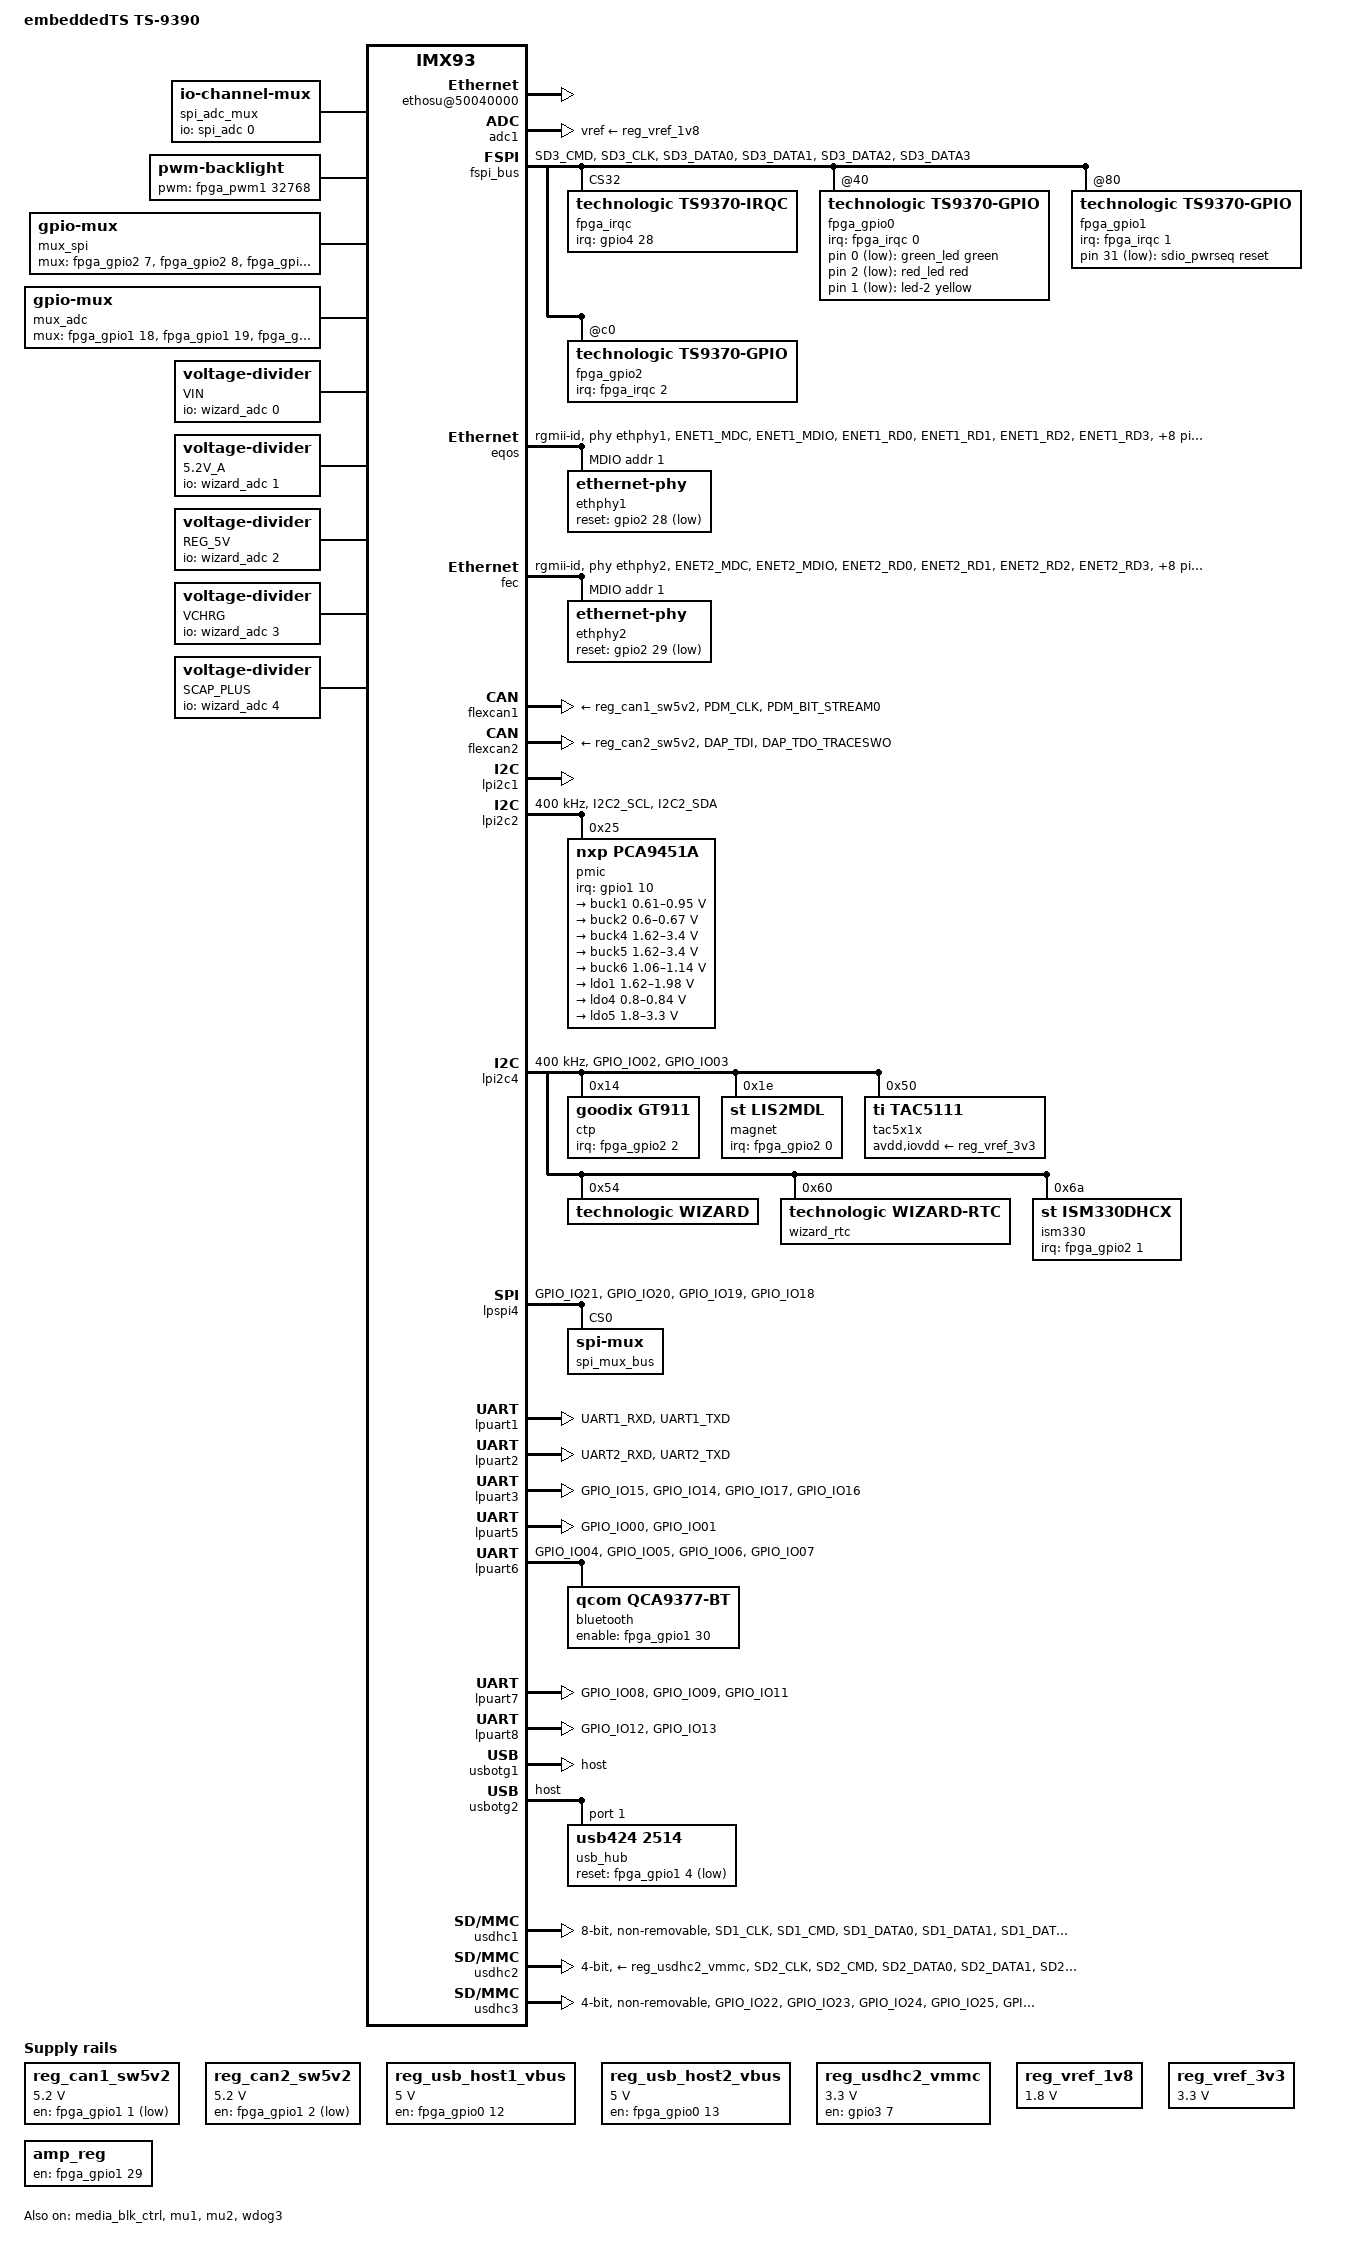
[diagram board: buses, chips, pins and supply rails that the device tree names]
// SPDX-License-Identifier: (GPL-2.0+ OR MIT)
/*
 * Copyright 2024, 2025 Technologic Systems, Inc. (dba embeddedTS)
 */

/dts-v1/;

#include <dt-bindings/leds/common.h>
#include <dt-bindings/pwm/pwm.h>
#include "imx93.dtsi"

#include "imx93-ts9390-pinfunc.h"

/ {
	model = "embeddedTS TS-9390";
	compatible = "technologic,ts9390", "fsl,imx93";

	chosen {
		bootargs = "console=ttyLP0,115200";
		stdout-path = &lpuart1;
	};

	aliases {
		gpio4 = &fpga_gpio0;
		gpio5 = &fpga_gpio1;
		gpio6 = &fpga_gpio2;
	};

	reserved-memory {
		#address-cells = <2>;
		#size-cells = <2>;
		ranges;

		linux,cma {
			compatible = "shared-dma-pool";
			reusable;
			alloc-ranges = <0 0x80000000 0 0x40000000>;
			size = <0 0x10000000>;
			linux,cma-default;
		};

		vdev0vring0: vdev0vring0@a4000000 {
			reg = <0 0xa4000000 0 0x8000>;
			no-map;
		};

		vdev0vring1: vdev0vring1@a4008000 {
			reg = <0 0xa4008000 0 0x8000>;
			no-map;
		};

		vdev1vring0: vdev1vring0@a4010000 {
			reg = <0 0xa4010000 0 0x8000>;
			no-map;
		};

		vdev1vring1: vdev1vring1@a4018000 {
			reg = <0 0xa4018000 0 0x8000>;
			no-map;
		};

		rsc_table: rsc-table@2021e000 {
			reg = <0 0x2021e000 0 0x1000>;
			no-map;
		};

		vdevbuffer: vdevbuffer@a4020000 {
			compatible = "shared-dma-pool";
			reg = <0 0xa4020000 0 0x100000>;
			no-map;
		};

		ele_reserved: ele-reserved@a4120000 {
			compatible = "shared-dma-pool";
			reg = <0 0xa4120000 0 0x100000>;
			no-map;
		};

                ethosu_mem: ethosu-reserved@a5000000 {
                        compatible = "shared-dma-pool";
                        reg = <0x0 0xa5000000 0x0 0x10000000>;  /* 256 MB */
                        reusable;
                };
	};

	ethosu@50040000 {
		compatible = "arm,ethosu";
		//fsl,cm33-proc = <&cm33>;
		memory-region = <&ethosu_mem>;
		power-domains = <&mlmix>;
	};

	spi_adc_mux: adc-mux {
		compatible = "io-channel-mux";
		io-channels = <&spi_adc 0>;
		io-channel-names = "parent";

		mux-controls = <&mux_adc>;
		mux-control-names = "an_sel";

		channels = "AN_1",
			   "AN_2",
			   "AN_3",
			   "AN_4",
			   "MIKRO_AN";
	};

	backlight: backlight {
		compatible = "pwm-backlight";
		pwms = <&fpga_pwm1 32768 PWM_POLARITY_INVERTED>;
		brightness-levels = <0 100>;
		num-interpolated-steps = <100>;
		default-brightness-level = <100>;
	};

	clk_dp: clk-dp {
		compatible = "fixed-clock";
		#clock-cells = <0>;
		clock-frequency = <19200000>;
	};

	leds {
		compatible = "gpio-leds";

		green_led: led-0 {
			color = <LED_COLOR_ID_GREEN>;
			function = LED_FUNCTION_POWER;
			gpios = <&fpga_gpio0 0 GPIO_ACTIVE_LOW>;
			default-state = "on";
		};

		red_led: led-1 {
			color = <LED_COLOR_ID_RED>;
			function = LED_FUNCTION_STATUS;
			gpios = <&fpga_gpio0 2 GPIO_ACTIVE_LOW>;
			default-state = "off";
		};

		led-2 {
			color = <LED_COLOR_ID_YELLOW>;
			function = LED_FUNCTION_INDICATOR;
			gpios = <&fpga_gpio0 1 GPIO_ACTIVE_LOW>;
			default-state = "off";
		};
	};

	mux_spi: mux-controller {
		compatible = "gpio-mux";
		#mux-control-cells = <0>;
		mux-gpios = <&fpga_gpio2 7 GPIO_ACTIVE_HIGH>,
			    <&fpga_gpio2 8 GPIO_ACTIVE_HIGH>,
			    <&fpga_gpio2 9 GPIO_ACTIVE_HIGH>;
	};

	mux_adc: mux-controller {
		compatible = "gpio-mux";
		#mux-control-cells = <0>;
		mux-gpios = <&fpga_gpio1 18 GPIO_ACTIVE_HIGH>,
			    <&fpga_gpio1 19 GPIO_ACTIVE_HIGH>,
			    <&fpga_gpio1 20 GPIO_ACTIVE_HIGH>;
	};

	reg_can1_sw5v2: regulator-can1-en {
		compatible = "regulator-fixed";
		regulator-name = "EN_CAN1_N";
		regulator-min-microvolt = <5200000>;
		regulator-max-microvolt = <5200000>;
		gpio = <&fpga_gpio1 1 GPIO_ACTIVE_LOW>;
	};

	reg_can2_sw5v2: regulator-can2-en {
		compatible = "regulator-fixed";
		regulator-name = "EN_CAN2_N";
		regulator-min-microvolt = <5200000>;
		regulator-max-microvolt = <5200000>;
		gpio = <&fpga_gpio1 2 GPIO_ACTIVE_LOW>;
	};

	reg_usb_host1_vbus: regulator-host1-vbus {
		compatible = "regulator-fixed";
		regulator-name = "EN_USB_HOST1_VBUS";
		regulator-min-microvolt = <5000000>;
		regulator-max-microvolt = <5000000>;
		gpio = <&fpga_gpio0 12 GPIO_ACTIVE_HIGH>;
		enable-active-high;
	};

	reg_usb_host2_vbus: regulator-host2-vbus {
		compatible = "regulator-fixed";
		regulator-name = "EN_USB_HOST2_VBUS";
		regulator-min-microvolt = <5000000>;
		regulator-max-microvolt = <5000000>;
		gpio = <&fpga_gpio0 13 GPIO_ACTIVE_HIGH>;
		enable-active-high;
	};

	reg_usdhc2_vmmc: regulator-usdhc2 {
		compatible = "regulator-fixed";
		pinctrl-names = "default";
		pinctrl-0 = <&pinctrl_reg_usdhc2_vmmc>;
		regulator-name = "VSD_3V3";
		regulator-min-microvolt = <3300000>;
		regulator-max-microvolt = <3300000>;
		gpio = <&gpio3 7 GPIO_ACTIVE_HIGH>;
		off-on-delay-us = <12000>;
		enable-active-high;
	};

	reg_vref_1v8: regulator-adc-vref {
		compatible = "regulator-fixed";
		regulator-name = "vref_1v8";
		regulator-min-microvolt = <1800000>;
		regulator-max-microvolt = <1800000>;
	};

	reg_vref_3v3: regulator-adc-vref {
		compatible = "regulator-fixed";
		regulator-name = "vref_3v3";
		regulator-min-microvolt = <3300000>;
		regulator-max-microvolt = <3300000>;
		regulator-always-on;
	};

	/*
	 * The numbering of the following voltage-divider io-channels must match
	 * the ordering of the Wizard microcontroller's scan table that it selected
	 * for the hardware configuration it determined itself to be running on.
	 */
	an_vin: an-vin {
		compatible = "voltage-divider";
		io-channels = <&wizard_adc 0>;
		label = "VIN";
		output-ohms = <4990>; /* R2: 4.9k */
		full-ohms = <79990>;  /* R1 (75k) + R2 (4.99k) */
		#io-channel-cells = <0>;
	};

	an_5p2va: an-5p2va {
		compatible = "voltage-divider";
		io-channels = <&wizard_adc 1>;
		label = "5.2V_A";
		output-ohms = <75000>; /* R2: 75k */
		full-ohms = <150000>;  /* R1 (75k) + R2 (75k) */
		#io-channel-cells = <0>;
	};

	an_reg_5v: an-reg-5v {
		compatible = "voltage-divider";
		io-channels = <&wizard_adc 2>;
		label = "REG_5V";
		output-ohms = <75000>; /* R2: 75k */
		full-ohms = <150000>;  /* R1 (75k) + R2 (75k) */
		#io-channel-cells = <0>;
	};

	an_vchrg: an-vchrg {
		compatible = "voltage-divider";
		io-channels = <&wizard_adc 3>;
		label = "VCHRG";
		output-ohms = <75000>; /* R2: 75k */
		full-ohms = <150000>;  /* R1 (75k) + R2 (75k) */
		#io-channel-cells = <0>;
	};

	an_scap_plus: an-scap-plus {
		compatible = "voltage-divider";
		io-channels = <&wizard_adc 4>;
		label = "SCAP_PLUS";
		output-ohms = <75000>; /* R2: 75k */
		full-ohms = <150000>;  /* R1 (75k) + R2 (75k) */
		#io-channel-cells = <0>;
	};

	sdio_pwrseq: sdio-pwrseq {
		compatible = "mmc-pwrseq-simple";
		pinctrl-names = "default";
		reset-gpios = <&fpga_gpio1 31 GPIO_ACTIVE_LOW>;
	};

        amp_reg: amp-supply {
                compatible = "regulator-fixed";
                regulator-name = "amp-enable";
                gpio = <&fpga_gpio1 29 GPIO_ACTIVE_HIGH>;
                enable-active-high;
        };

	imx_tac5111: sound-tac5111 {
		compatible = "fsl,imx-audio-card";
		model = "imx-tac5111";
                amp-enable-supply = <&amp_reg>;
		simple-audio-card,widgets =
			"Microphone", "Line In",
			"Headphone", "Line Out",
			"Speaker", "Speaker Ext";
                simple-audio-card,routing =
                	"AIN1", "Line In",
			"Line Out", "OUT1",
			"Speaker Ext", "AMPVDD",
                	"AMPVDD", "amp-enable";

		//pri-dai-link {
		//	link-name = "tac5111";
		//	format = "i2s";
		//	cpu {
		//		sound-dai = <&sai1>;
        //                        bitclock-master;
        //                        frame-master;
		//	};
		//	codec {
		//		sound-dai = <&tac5x1x>;
		//	};
		//};
	};

//	lcd_lvds0: panel0 {
//		compatible = "panel-lvds";
//		backlight = <&backlight>;
//		data-mapping = "vesa-24";
//		width-mm = <154>;  // 7"
//		height-mm = <86>;
//		enable-gpios = <&fpga_gpio2 3 GPIO_ACTIVE_LOW>;
//		reset-gpios = <&fpga_gpio2 4 GPIO_ACTIVE_HIGH>;
//		status = "okay";
//
//		panel-timing {
//			clock-frequency = <62400000>;
//			hactive = <1024>;
//			vactive = <600>;
//			hback-porch = <160>;
//			hfront-porch = <160>;
//			hsync-len = <10>;
//			vback-porch = <23>;
//			vfront-porch = <15>;
//			vsync-len = <5>;
//			de-active = <1>;
//			pixelclk-active = <1>;
//		};
//
//		port {
//			panel_lvds_in: endpoint {
//				remote-endpoint = <&lvds_out>;
//			};
//		};
//	};
};

//&ldb {
//	status = "okay";
//
//	lvds-channel@0 {
//		status = "okay";
//
//		port@1 {
//			lvds_out: endpoint {
//				remote-endpoint = <&panel_lvds_in>;
//			};
//		};
//	};
//};
//
//&ldb_phy {
//	status = "okay";
//};

&adc1 {
	vref-supply = <&reg_vref_1v8>;
	status = "okay";
};

&aips2 {
	fspi_bus: fspi-bus@425e0000 {
		compatible = "nxp,imx93-fspi-bus";
		reg = <0x425e0000 0x10000>, <0x28000000 0x10000000>;
		reg-names = "fspi_base", "fspi_mmap";
		#address-cells = <1>;
		#size-cells = <1>;
		clocks = <&clk IMX93_CLK_FLEXSPI1_GATE>,
			 <&clk IMX93_CLK_FLEXSPI1_GATE>;
		clock-names = "fspi", "fspi_en";
		assigned-clocks = <&clk IMX93_CLK_FLEXSPI1>;
		assigned-clock-parents = <&clk IMX93_CLK_SYS_PLL_PFD1>;

		pinctrl-names = "default";
		pinctrl-0 = <&pinctrl_flexspi>;
		
		assigned-clock-rates = <66666666>;
		ranges = <0 0x28000000 0x10000000>;

		fpga_irqc: irq@28000020 {
			compatible = "technologic,ts9370-irqc";
			reg = <0x20 0x20>;
			pinctrl-names = "default";
			pinctrl-0 = <&pinctrl_fpga_irq>;

			interrupt-parent = <&gpio4>;
			interrupts = <28 IRQ_TYPE_LEVEL_HIGH>;

			#interrupt-cells = <1>;
			interrupt-controller;
		};

		fpga_xbar: pinctrl@28002000 {
			compatible = "technologic,ts9390-xbar";
			reg = <0x2000 0x200>;
		};

		fpga_gpio0: gpio@28000040 {
			compatible = "technologic,ts9370-gpio";
			reg = <0x40 0x40>;

			gpio-controller;
			#gpio-cells = <2>;

			interrupt-parent = <&fpga_irqc>;
			interrupts = <0>;
			#interrupt-cells = <2>;
			interrupt-controller;

			gpio-line-names =
				"EN_GREEN_LED#",     "",                  "EN_RED_LED#",    "",
				"NIM_RESET#",        "NIM_CTS#",          "NIM_PWR_ON#",    "EN_NIM_USB#",
				"EN_NIM_4V",         "EN_NIM_3P3V",       "NIM_TXD",        "NIM_RXD",
				"EN_USB_HOST1_VBUS", "EN_USB_HOST2_VBUS", "MIKRO_TXD",      "MIKRO_RXD",
				"MIKRO_SPI_CLK",     "MIKRO_SPI_CS#",     "MIKRO_SPI_MISO", "MIKRO_SPI_MOSI",
				"MIKRO_RESET#",      "MIKRO_AN",          "MIKRO_PWM",      "MIKRO_INT",
				"",                  "",                  "",               "",
				"",                  "",                  "NIM_STATUS",     "";
		};

		fpga_gpio1: gpio@28000080 {
			compatible = "technologic,ts9370-gpio";
			reg = <0x80 0x40>;
			gpio-controller;
			#gpio-cells = <2>;

			interrupt-parent = <&fpga_irqc>;
			interrupts = <1>;
			#interrupt-cells = <2>;
			interrupt-controller;

			gpio-line-names =
				"EN_2ND_PORT_232",   "EN_CAN_1#",    "EN_CAN_2#",      "",
				"USB_HUB_RESET#",    "PUSH_SW#",     "TPM_IRQ#",       "",
				"",                  "",             "",               "",
				"",                  "",             "",               "",
				"",                  "",             "",               "",
				"",                  "EN_ADC_3_12V", "EN_ADC_1_2_12V", "",
				"",                  "EN_CL_1_2",    "EN_CL_3",        "DP_RESET#",
				"NO_SCAP_CHRG#",     "EN_SPKR_AMP",  "BT_EN",          "WIFI_EN";
		};

		fpga_gpio2: gpio@280000c0 {
			compatible = "technologic,ts9370-gpio";
			reg = <0xC0 0x40>;
			gpio-controller;
			#gpio-cells = <2>;

			interrupt-parent = <&fpga_irqc>;
			interrupts = <2>;
			#interrupt-cells = <2>;
			interrupt-controller;

			gpio-line-names =
				"MAGNET_IRQ",  "GYRO_IRQ",              "LCD_IRQ",     "LCD_STANDBY",
				"LCD_RESET#",  "EN_RELAY_1",            "EN_RELAY_2",  "",
				"",            "",                      "",            "",
				"",            "",                      "",            "CLEAR_FAULT",
				"EN_HS_SW",    "EN_LS_OUT_1",           "EN_LS_OUT_2", "EN_LS_OUT_3",
				"EN_LS_OUT_4", "CIRCUIT_BREAKER_FAULT", "",            "DIO_1_IN",
				"DIO_2_IN",    "DIO_3_IN",              "DIO_4_IN",    "DC_1",
				"DC_3",        "DC_5",                  "DC_7",        "DC_9";
		};

		fpga_pwm0: pwm@28000400 {
			compatible = "technologic,pwm32";
			reg = <0x400 0x20>;
			clocks = <&clk IMX93_CLK_FLEXSPI1>;
			clock-names = "fspi";
			#pwm-cells = <2>;
		};

		fpga_pwm1: pwm@28000420 {
			compatible = "technologic,pwm32";
			reg = <0x420 0x20>;
			clocks = <&clk IMX93_CLK_FLEXSPI1>;
			clock-names = "fspi";
			#pwm-cells = <2>;
		};
	};
};

&bbnsm_rtc {
	status = "disabled";
};

//&cm33 {
//	mbox-names = "tx", "rx", "rxdb";
//	mboxes = <&mu1 0 1>,
//		 <&mu1 1 1>,
//		 <&mu1 3 1>;
//	memory-region = <&vdevbuffer>, <&vdev0vring0>, <&vdev0vring1>,
//			<&vdev1vring0>, <&vdev1vring1>, <&rsc_table>;
//	status = "okay";
//};

&eqos {
	pinctrl-names = "default", "sleep";
	pinctrl-0 = <&pinctrl_eqos>;
	pinctrl-1 = <&pinctrl_eqos_sleep>;
	phy-mode = "rgmii-id";
	phy-handle = <&ethphy1>;
	status = "okay";

	mdio {
		compatible = "snps,dwmac-mdio";
		#address-cells = <1>;
		#size-cells = <0>;
		clock-frequency = <5000000>;

		ethphy1: ethernet-phy@1 {
			//compatible = "ethernet-phy-ieee802.3-c22";
			reg = <1>;
			eee-broken-1000t;
			pinctrl-names = "default";
			pinctrl-0 = <&pinctrl_eqos_phy>;
			reset-gpios = <&gpio2 28 GPIO_ACTIVE_LOW>;
			reset-assert-us = <6>;
			reset-deassert-us = <50000>;
		};
	};
};

&fec {
	pinctrl-names = "default", "sleep";
	pinctrl-0 = <&pinctrl_fec>;
	pinctrl-1 = <&pinctrl_fec_sleep>;
	phy-mode = "rgmii-id";
	phy-handle = <&ethphy2>;
	fsl,magic-packet;
	status = "okay";

	mdio {
		#address-cells = <1>;
		#size-cells = <0>;
		clock-frequency = <5000000>;

		ethphy2: ethernet-phy@1 {
			//compatible = "ethernet-phy-ieee802.3-c22";
			reg = <1>;
			pinctrl-names = "default";
			pinctrl-0 = <&pinctrl_fec_phy>;
			eee-broken-1000t;
			reset-gpios = <&gpio2 29 GPIO_ACTIVE_LOW>;
			reset-assert-us = <6>;
			reset-deassert-us = <50000>;
		};
	};
};

&flexcan1 {
	pinctrl-names = "default";
	pinctrl-0 = <&pinctrl_flexcan1>;
	xceiver-supply = <&reg_can1_sw5v2>;
	status = "okay";
};

&flexcan2 {
	pinctrl-names = "default";
	pinctrl-0 = <&pinctrl_flexcan2>;
	xceiver-supply = <&reg_can2_sw5v2>;
	status = "okay";
};

//&lcdif {
//	status = "okay";
//	assigned-clock-rates = <445333333>, <148444444>, <400000000>, <133333333>;
//};

&lpi2c1 {
	status = "ok";
};

&lpi2c2 {
	#address-cells = <1>;
	#size-cells = <0>;
	clock-frequency = <400000>;
	pinctrl-names = "default";
	pinctrl-0 = <&pinctrl_lpi2c2>;
	status = "okay";

	pmic@25 {
		compatible = "nxp,pca9451a";
		reg = <0x25>;
		pinctrl-names = "default";
		pinctrl-0 = <&pinctrl_pmic>;
		interrupt-parent = <&gpio1>;
		interrupts = <10 IRQ_TYPE_LEVEL_LOW>;
		nxp,i2c-lt-enable;

		regulators {
			buck1: BUCK1 {
				regulator-name = "BUCK1";
				regulator-min-microvolt = <610000>;
				regulator-max-microvolt = <950000>;
				regulator-boot-on;
				regulator-always-on;
				regulator-ramp-delay = <3125>;
			};

			buck2: BUCK2 {
				regulator-name = "BUCK2";
				regulator-min-microvolt = <600000>;
				regulator-max-microvolt = <670000>;
				regulator-boot-on;
				regulator-always-on;
				regulator-ramp-delay = <3125>;
			};

			buck4: BUCK4{
				regulator-name = "BUCK4";
				regulator-min-microvolt = <1620000>;
				regulator-max-microvolt = <3400000>;
				regulator-boot-on;
				regulator-always-on;
			};

			buck5: BUCK5{
				regulator-name = "BUCK5";
				regulator-min-microvolt = <1620000>;
				regulator-max-microvolt = <3400000>;
				regulator-boot-on;
				regulator-always-on;
			};

			buck6: BUCK6 {
				regulator-name = "BUCK6";
				regulator-min-microvolt = <1060000>;
				regulator-max-microvolt = <1140000>;
				regulator-boot-on;
				regulator-always-on;
			};

			ldo1: LDO1 {
				regulator-name = "LDO1";
				regulator-min-microvolt = <1620000>;
				regulator-max-microvolt = <1980000>;
				regulator-boot-on;
				regulator-always-on;
			};

			ldo4: LDO4 {
				regulator-name = "LDO4";
				regulator-min-microvolt = <800000>;
				regulator-max-microvolt = <840000>;
				regulator-boot-on;
				regulator-always-on;
			};

			ldo5: LDO5 {
				regulator-name = "LDO5";
				regulator-min-microvolt = <1800000>;
				regulator-max-microvolt = <3300000>;
				regulator-boot-on;
				regulator-always-on;
			};
		};
	};
};

&lpi2c4 {
	#address-cells = <1>;
	#size-cells = <0>;
	clock-frequency = <400000>;
	pinctrl-names = "default", "sleep";
	pinctrl-0 = <&pinctrl_lpi2c4>;
	pinctrl-1 = <&pinctrl_lpi2c4>;
	status = "okay";

	ctp: ctp@14 {
		compatible = "goodix,gt911";
		reg = <0x14>;
		interrupt-parent = <&fpga_gpio2>;
		interrupts = <2 IRQ_TYPE_EDGE_FALLING>;
		irq-gpios = <&fpga_gpio2 2 GPIO_ACTIVE_HIGH>;
	};

	/* ST IIS2MDL (magnetometer) */
	magnet: magnetometer@1e {
		compatible = "st,lis2mdl";
		reg = <0x1e>;
		st,drdy-int-pin = <1>;
		interrupt-parent = <&fpga_gpio2>;
		interrupts = <0 IRQ_TYPE_EDGE_RISING>;
	};

	tac5x1x: tac5x1x@50 {
		compatible = "ti,tac5111";
		reg = <0x50>;
		#sound-dai-cells = <0>;
		avdd-supply = <&reg_vref_3v3>;
		iovdd-supply = <&reg_vref_3v3>;
		ti,vref = <0>;
                ti,adc1-impedance = <0>;
		ti,micbias-vg = <3>;  /* make it same as AVDD */
		ti,gpi1-func = <0>;
		ti,gpios-func = <0>, <0>, <0>;
		ti,gpios-drive = <0>, <0>, <0>;
		ti,gpa-gpio = <0>;
		ti,in-ch-en = <1>;
		ti,out-ch-en = <1>;
		ti,incl-ac-coup = <0>;
		ti,incl-se-inm = <0>;
		ti,gpa-threshold = <75>, <186>;
	};

	wizard: wizard@54 {
		compatible = "technologic,wizard";
		reg = <0x54>;

		wizard_adc: adc {
			compatible = "technologic,wizard-adc";
			#io-channel-cells = <1>;
		};

		wizard_irq: irq {
			compatible = "technologic,wizard-irq";
			pinctrl-names = "default";
			pinctrl-0 = <&pinctrl_wizirq>;

			interrupt-parent = <&gpio4>;
			interrupts = <29 IRQ_TYPE_LEVEL_HIGH>;

			#interrupt-cells = <1>;
			interrupt-controller;
		};

		wizard_silo: ups {
			compatible = "technologic,wizard-silo";
			interrupt-parent = <&wizard_irq>;
			interrupts = <0>;
		};

		wizard_temp: temp {
			compatible = "technologic,wizard-temp";
			#io-channel-cells = <0>;
		};

		wizard_reset: reset {
			compatible = "technologic,wizard-reset";
		};
	};

	wizard_rtc: rtc@60 {
		compatible = "technologic,wizard-rtc";
		reg = <0x60>;
		wakeup-source;
	};

	/* ST ISM330DLCTR (gyro/accelerometer) (ism6dhcx) */
	ism330: gyro@6a {
		compatible = "st,ism330dhcx";
		reg = <0x6a>;
		interrupt-parent = <&fpga_gpio2>;
		interrupts = <1 IRQ_TYPE_EDGE_RISING>;
	};
};

&lpspi4 {
	num-cs = <1>;
	pinctrl-names = "default";
	pinctrl-0 = <&pinctrl_lpspi4>;
	num-cs = <1>;
	status = "okay";

	spi_mux_bus: spi@0 {
		compatible = "spi-mux";
		reg = <0>;
		mux-controls = <&mux_spi>;
		#address-cells = <1>;
		#size-cells    = <0>;

		spi_adc: adc@0 {
			compatible = "ti,adc121s021";
			reg = <0>;
			vref-supply = <&reg_vref_3v3>;
			spi-max-frequency = <1000000>;
			#io-channel-cells = <1>;
		};

		mikrobus_spi: spi@1 {
			compatible = "technologic,spi-header";
			reg = <1>;
			spi-max-frequency = <10000000>;
		};

		dc_header_spi: spi@2 {
			compatible = "technologic,spi-header";
			reg = <2>;
			spi-max-frequency = <10000000>;
		};
	};
};

&lpuart1 {
	pinctrl-names = "default";
	pinctrl-0 = <&pinctrl_uart1>;
	status = "okay";
};

&lpuart2 {
	pinctrl-names = "default";
	pinctrl-0 = <&pinctrl_uart2>;
	status = "okay";
};

&lpuart3 {
	pinctrl-names = "default";
	pinctrl-0 = <&pinctrl_uart3>;
	linux,rs485-enabled-at-boot-time;
	status = "okay";
};

&lpuart5 {
	pinctrl-names = "default";
	pinctrl-0 = <&pinctrl_uart5>;
	status = "okay";
};

&lpuart6 {
	pinctrl-names = "default";
	pinctrl-0 = <&pinctrl_uart6>;
	uart-has-rtscts;
	status = "okay";

	bluetooth {
		compatible = "qcom,qca9377-bt";
		enable-gpios = <&fpga_gpio1 30 GPIO_ACTIVE_HIGH>;
		max-speed = <2000000>;
	};
};

&lpuart7 {
	pinctrl-names = "default";
	pinctrl-0 = <&pinctrl_uart7>;
	linux,rs485-enabled-at-boot-time;
	status = "okay";
};

&lpuart8 {
	pinctrl-names = "default";
	pinctrl-0 = <&pinctrl_uart8>;
	status = "okay";
};

&media_blk_ctrl {
	status = "okay";
};

&mu1 {
	status = "okay";
};

&mu2 {
	status = "okay";
};

//&sai1 {
//	#sound-dai-cells = <0>;
//	pinctrl-names = "default";
//	pinctrl-0 = <&pinctrl_sai1>;
//
//	assigned-clocks = <&clk IMX93_CLK_SAI1>;
//	assigned-clock-parents = <&clk IMX93_CLK_AUDIO_PLL>;
//	/* assigned-clock-rates = <12288000>; */
//	assigned-clock-rates = <1536000>;
//
//	fsl,sai-mclk-direction-output;
//	status = "okay";
//};

&usbotg1 {
	dr_mode = "host";
	status = "okay";
};

&usbotg2 {
	#address-cells = <1>;
	#size-cells = <0>;
	dr_mode = "host";
	status = "okay";

	usb_hub: usb@1 {
		compatible = "usb424,2514";
		reg = <1>;
		//pinctrl-names = "default";
		//pinctrl-0 = <&pinctrl_usbhub>;
		clocks = <&clk IMX93_CLK_CCM_CKO1>;
		assigned-clocks = <&clk IMX93_CLK_CCM_CKO1>;
		assigned-clock-parents = <&clk IMX93_CLK_24M>;
		assigned-clock-rates = <24000000>;
		reset-gpios = <&fpga_gpio1 4 GPIO_ACTIVE_LOW>;
	};
};

&usdhc1 {
	pinctrl-names = "default", "state_100mhz", "state_200mhz";
	pinctrl-0 = <&pinctrl_usdhc1>;
	pinctrl-1 = <&pinctrl_usdhc1_100mhz>;
	pinctrl-2 = <&pinctrl_usdhc1_200mhz>;
	bus-width = <8>;
	non-removable;
	status = "okay";
};

&usdhc2 {
	pinctrl-names = "default", "state_100mhz", "state_200mhz";
	pinctrl-0 = <&pinctrl_usdhc2>, <&pinctrl_usdhc2_gpio>;
	pinctrl-1 = <&pinctrl_usdhc2_100mhz>, <&pinctrl_usdhc2_gpio>;
	pinctrl-2 = <&pinctrl_usdhc2_200mhz>, <&pinctrl_usdhc2_gpio>;
	cd-gpios = <&gpio3 00 GPIO_ACTIVE_LOW>;
	fsl,cd-gpio-wakeup-disable;
	vmmc-supply = <&reg_usdhc2_vmmc>;
	bus-width = <4>;
	status = "okay";
	no-sdio;
	no-mmc;
};

&usdhc3 {
	pinctrl-names = "default", "state_100mhz", "state_200mhz";
	pinctrl-0 = <&pinctrl_usdhc3>;
	pinctrl-1 = <&pinctrl_usdhc3_100mhz>;
	pinctrl-2 = <&pinctrl_usdhc3_200mhz>;
	mmc-pwrseq = <&sdio_pwrseq>;
	bus-width = <4>;
	keep-power-in-suspend;
	non-removable;
	wakeup-source;
	status = "okay";
};

/* 43810000.gpio */
&gpio2 {
	gpio-line-names =
		"GPIO_00",      "GPIO_01",      "GPIO_02", "GPIO_03", "GPIO_04",
		"GPIO_05",      "GPIO_06",      "GPIO_07", "GPIO_08", "GPIO_09",
		"RS485_1_TXEN", "RS485_2_TXEN", "GPIO_12", "GPIO_13", "GPIO_14",
		"GPIO_15",      "GPIO_16",      "GPIO_17", "GPIO_18", "GPIO_19",
		"GPIO_20",      "GPIO_21";
};

/* 43830000.gpio */
&gpio4 {
	gpio-line-names =
		"",          "",          "",         "",         "",
		"",          "",          "",         "",         "",
		"",          "",          "",         "",         "",
		"",          "",          "",         "",         "",
		"",          "",          "",         "",         "",
		"",          "",          "",         "FPGA_IRQ", "POWER_FAIL";
};

&iomuxc {
	pinctrl_eqos: eqosgrp {
		fsl,pins = <
			MX93_PAD_ENET1_MDC__ENET_QOS_MDC			0x57e
			MX93_PAD_ENET1_MDIO__ENET_QOS_MDIO			0x57e
			MX93_PAD_ENET1_RD0__ENET_QOS_RGMII_RD0			0x57e
			MX93_PAD_ENET1_RD1__ENET_QOS_RGMII_RD1			0x57e
			MX93_PAD_ENET1_RD2__ENET_QOS_RGMII_RD2			0x57e
			MX93_PAD_ENET1_RD3__ENET_QOS_RGMII_RD3			0x57e
			MX93_PAD_ENET1_RXC__CCM_ENET_QOS_CLOCK_GENERATE_RX_CLK	0x5fe
			MX93_PAD_ENET1_RX_CTL__ENET_QOS_RGMII_RX_CTL		0x57e
			MX93_PAD_ENET1_TD0__ENET_QOS_RGMII_TD0			0x57e
			MX93_PAD_ENET1_TD1__ENET_QOS_RGMII_TD1			0x57e
			MX93_PAD_ENET1_TD2__ENET_QOS_RGMII_TD2			0x57e
			MX93_PAD_ENET1_TD3__ENET_QOS_RGMII_TD3			0x57e
			MX93_PAD_ENET1_TXC__CCM_ENET_QOS_CLOCK_GENERATE_TX_CLK	0x5fe
			MX93_PAD_ENET1_TX_CTL__ENET_QOS_RGMII_TX_CTL		0x57e
		>;
	};

	pinctrl_eqos_phy: eqosphygrp {
		fsl,pins = <
			MX93_PAD_GPIO_IO28__GPIO2_IO28				0x1306
		>;
	};

	pinctrl_usbhub: hubgrp {
		fsl,pins = <
			MX93_PAD_CCM_CLKO1__CCMSRCGPCMIX_CLKO1		0x282
		>;
	};

	pinctrl_pmic: pmicgrp {
		fsl,pins = <
			MX93_PAD_PDM_BIT_STREAM1__GPIO1_IO10		0x40000b9e
		>;
	};

	pinctrl_lpi2c1: lpi2c1grp {
		fsl,pins = <
			MX93_PAD_I2C1_SCL__LPI2C1_SCL			0x40000b9e
			MX93_PAD_I2C1_SDA__LPI2C1_SDA			0x40000b9e
		>;
	};

	pinctrl_lpi2c2: lpi2c2grp {
		fsl,pins = <
			MX93_PAD_I2C2_SCL__LPI2C2_SCL			0x40000b9e
			MX93_PAD_I2C2_SDA__LPI2C2_SDA			0x40000b9e
		>;
	};

	pinctrl_lpi2c4: lpi2c4grp {
		fsl,pins = <
			MX93_PAD_GPIO_IO02__LPI2C4_SDA			0x40000b9e
			MX93_PAD_GPIO_IO03__LPI2C4_SCL			0x40000b9e
		>;
	};

	pinctrl_lpspi4: spi4grp {
		fsl,pins = <
			MX93_PAD_GPIO_IO21__LPSPI4_SCK		0x3fe
			MX93_PAD_GPIO_IO20__LPSPI4_SOUT		0x3fe
			MX93_PAD_GPIO_IO19__LPSPI4_SIN		0x3fe
			MX93_PAD_GPIO_IO18__LPSPI4_PCS0		0x3fe
		>;
	};

	pinctrl_eqos_sleep: eqossleepgrp {
		fsl,pins = <
			MX93_PAD_ENET1_MDC__GPIO4_IO00			0x31e
			MX93_PAD_ENET1_MDIO__GPIO4_IO01			0x31e
			MX93_PAD_ENET1_RD0__GPIO4_IO10			0x31e
			MX93_PAD_ENET1_RD1__GPIO4_IO11			0x31e
			MX93_PAD_ENET1_RD2__GPIO4_IO12			0x31e
			MX93_PAD_ENET1_RD3__GPIO4_IO13			0x31e
			MX93_PAD_ENET1_RXC__GPIO4_IO09			0x31e
			MX93_PAD_ENET1_RX_CTL__GPIO4_IO08		0x31e
			MX93_PAD_ENET1_TD0__GPIO4_IO05			0x31e
			MX93_PAD_ENET1_TD1__GPIO4_IO04			0x31e
			MX93_PAD_ENET1_TD2__GPIO4_IO03			0x31e
			MX93_PAD_ENET1_TD3__GPIO4_IO02			0x31e
			MX93_PAD_ENET1_TXC__GPIO4_IO07			0x31e
			MX93_PAD_ENET1_TX_CTL__GPIO4_IO06		0x31e
		>;
	};

	pinctrl_flexcan1: flexcan1grp {
		fsl,pins = <
			MX93_PAD_PDM_CLK__CAN1_TX		0x139e
			MX93_PAD_PDM_BIT_STREAM0__CAN1_RX	0x139e
		>;
	};

	/* JTAG_CPU_TDI & TDO are unavailable when CAN2 is configured */
	pinctrl_flexcan2: flexcan2grp {
		fsl,pins = <
			MX93_PAD_DAP_TDI__CAN2_TX		0x139e
			MX93_PAD_DAP_TDO_TRACESWO__CAN2_RX	0x139e
		>;
	};

	pinctrl_flexspi: flexspigrp {
		fsl,pins = <
			MX93_PAD_SD3_CMD__FLEXSPI1_A_SS0_B      0x42
			MX93_PAD_SD3_CLK__FLEXSPI1_A_SCLK       0x42
			MX93_PAD_SD3_DATA0__FLEXSPI1_A_DATA00   0x42
			MX93_PAD_SD3_DATA1__FLEXSPI1_A_DATA01   0x42
			MX93_PAD_SD3_DATA2__FLEXSPI1_A_DATA02   0x42
			MX93_PAD_SD3_DATA3__FLEXSPI1_A_DATA03   0x42
		>;
	};

	pinctrl_fec: fecgrp {
		fsl,pins = <
			MX93_PAD_ENET2_MDC__ENET1_MDC			0x57e
			MX93_PAD_ENET2_MDIO__ENET1_MDIO			0x57e
			MX93_PAD_ENET2_RD0__ENET1_RGMII_RD0		0x57e
			MX93_PAD_ENET2_RD1__ENET1_RGMII_RD1		0x57e
			MX93_PAD_ENET2_RD2__ENET1_RGMII_RD2		0x57e
			MX93_PAD_ENET2_RD3__ENET1_RGMII_RD3		0x57e
			MX93_PAD_ENET2_RXC__ENET1_RGMII_RXC		0x5fe
			MX93_PAD_ENET2_RX_CTL__ENET1_RGMII_RX_CTL	0x57e
			MX93_PAD_ENET2_TD0__ENET1_RGMII_TD0		0x57e
			MX93_PAD_ENET2_TD1__ENET1_RGMII_TD1		0x57e
			MX93_PAD_ENET2_TD2__ENET1_RGMII_TD2		0x57e
			MX93_PAD_ENET2_TD3__ENET1_RGMII_TD3		0x57e
			MX93_PAD_ENET2_TXC__ENET1_RGMII_TXC		0x5fe
			MX93_PAD_ENET2_TX_CTL__ENET1_RGMII_TX_CTL	0x57e
		>;
	};

	pinctrl_fec_phy: fecphygrp {
		fsl,pins = <
			MX93_PAD_GPIO_IO29__GPIO2_IO29				0x1306
		>;
	};

	pinctrl_fec_sleep: fecsleepgrp {
		fsl,pins = <
			MX93_PAD_ENET2_MDC__GPIO4_IO14			0x51e
			MX93_PAD_ENET2_MDIO__GPIO4_IO15			0x51e
			MX93_PAD_ENET2_RD0__GPIO4_IO24			0x51e
			MX93_PAD_ENET2_RD1__GPIO4_IO25			0x51e
			MX93_PAD_ENET2_RD2__GPIO4_IO26			0x51e
			MX93_PAD_ENET2_RD3__GPIO4_IO27			0x51e
			MX93_PAD_ENET2_RXC__GPIO4_IO23                  0x51e
			MX93_PAD_ENET2_RX_CTL__GPIO4_IO22		0x51e
			MX93_PAD_ENET2_TD0__GPIO4_IO19			0x51e
			MX93_PAD_ENET2_TD1__GPIO4_IO18			0x51e
			MX93_PAD_ENET2_TD2__GPIO4_IO17			0x51e
			MX93_PAD_ENET2_TD3__GPIO4_IO16			0x51e
			MX93_PAD_ENET2_TXC__GPIO4_IO21                  0x51e
			MX93_PAD_ENET2_TX_CTL__GPIO4_IO20               0x51e
		>;
	};

	pinctrl_fpga_irq: fpgairqgrp {
		fsl,pins = <
			MX93_PAD_CCM_CLKO3__GPIO4_IO28		0x40000b9e
		>;
	};

	pinctrl_sai1: sai1grp {
		fsl,pins = <
			MX93_PAD_SAI1_TXFS__SAI1_TX_SYNC		0x302
			MX93_PAD_SAI1_TXC__SAI1_TX_BCLK 		0x306
			MX93_PAD_SAI1_TXD0__SAI1_TX_DATA00		0x302
			MX93_PAD_SAI1_RXD0__SAI1_RX_DATA00		0x31e
		>;
	};

	pinctrl_uart1: uart1grp {
		fsl,pins = <
			MX93_PAD_UART1_RXD__LPUART1_RX			0x31e
			MX93_PAD_UART1_TXD__LPUART1_TX			0x31e
		>;
	};

	pinctrl_uart2: uart2grp {
		fsl,pins = <
			MX93_PAD_UART2_RXD__LPUART2_RX			0x31e
			MX93_PAD_UART2_TXD__LPUART2_TX			0x31e
		>;
	};

	pinctrl_uart3: uart3grp {
		fsl,pins = <
			MX93_PAD_GPIO_IO15__LPUART3_RX			0x31e
			MX93_PAD_GPIO_IO14__LPUART3_TX			0x31e
			MX93_PAD_GPIO_IO17__LPUART3_RTS_B		0x31e
			MX93_PAD_GPIO_IO16__LPUART3_CTS_B		0x31e
		>;
	};

	pinctrl_uart5: uart5grp {
		fsl,pins = <
			MX93_PAD_GPIO_IO00__LPUART5_TX			0x31e
			MX93_PAD_GPIO_IO01__LPUART5_RX			0x31e
		>;
	};

	pinctrl_uart6: uart6grp {
		fsl,pins = <
			MX93_PAD_GPIO_IO04__LPUART6_TX			0x31e
			MX93_PAD_GPIO_IO05__LPUART6_RX			0x31e
			MX93_PAD_GPIO_IO06__LPUART6_CTS_B		0x31e
			MX93_PAD_GPIO_IO07__LPUART6_RTS_B		0x31e
		>;
	};

	pinctrl_uart7: uart7grp {
		fsl,pins = <
			MX93_PAD_GPIO_IO08__LPUART7_TX			0x31e
			MX93_PAD_GPIO_IO09__LPUART7_RX			0x31e
			MX93_PAD_GPIO_IO11__LPUART7_RTS_B		0x31e
		>;
	};

	pinctrl_uart8: uart8grp {
		fsl,pins = <
			MX93_PAD_GPIO_IO12__LPUART8_TX			0x31e
			MX93_PAD_GPIO_IO13__LPUART8_RX			0x31e
		>;
	};

	/* need to config the SION for data and cmd pad, refer to ERR052021 */
	pinctrl_usdhc1: usdhc1grp {
		fsl,pins = <
			MX93_PAD_SD1_CLK__USDHC1_CLK		0x1582
			MX93_PAD_SD1_CMD__USDHC1_CMD		0x40001382
			MX93_PAD_SD1_DATA0__USDHC1_DATA0	0x40001382
			MX93_PAD_SD1_DATA1__USDHC1_DATA1	0x40001382
			MX93_PAD_SD1_DATA2__USDHC1_DATA2	0x40001382
			MX93_PAD_SD1_DATA3__USDHC1_DATA3	0x40001382
			MX93_PAD_SD1_DATA4__USDHC1_DATA4	0x40001382
			MX93_PAD_SD1_DATA5__USDHC1_DATA5	0x40001382
			MX93_PAD_SD1_DATA6__USDHC1_DATA6	0x40001382
			MX93_PAD_SD1_DATA7__USDHC1_DATA7	0x40001382
			MX93_PAD_SD1_STROBE__USDHC1_STROBE	0x1582
		>;
	};

	/* need to config the SION for data and cmd pad, refer to ERR052021 */
	pinctrl_usdhc1_100mhz: usdhc1-100mhzgrp {
		fsl,pins = <
			MX93_PAD_SD1_CLK__USDHC1_CLK		0x158e
			MX93_PAD_SD1_CMD__USDHC1_CMD		0x4000138e
			MX93_PAD_SD1_DATA0__USDHC1_DATA0	0x4000138e
			MX93_PAD_SD1_DATA1__USDHC1_DATA1	0x4000138e
			MX93_PAD_SD1_DATA2__USDHC1_DATA2	0x4000138e
			MX93_PAD_SD1_DATA3__USDHC1_DATA3	0x4000138e
			MX93_PAD_SD1_DATA4__USDHC1_DATA4	0x4000138e
			MX93_PAD_SD1_DATA5__USDHC1_DATA5	0x4000138e
			MX93_PAD_SD1_DATA6__USDHC1_DATA6	0x4000138e
			MX93_PAD_SD1_DATA7__USDHC1_DATA7	0x4000138e
			MX93_PAD_SD1_STROBE__USDHC1_STROBE	0x158e
		>;
	};

	/* need to config the SION for data and cmd pad, refer to ERR052021 */
	pinctrl_usdhc1_200mhz: usdhc1-200mhzgrp {
		fsl,pins = <
			MX93_PAD_SD1_CLK__USDHC1_CLK		0x15fe
			MX93_PAD_SD1_CMD__USDHC1_CMD		0x400013fe
			MX93_PAD_SD1_DATA0__USDHC1_DATA0	0x400013fe
			MX93_PAD_SD1_DATA1__USDHC1_DATA1	0x400013fe
			MX93_PAD_SD1_DATA2__USDHC1_DATA2	0x400013fe
			MX93_PAD_SD1_DATA3__USDHC1_DATA3	0x400013fe
			MX93_PAD_SD1_DATA4__USDHC1_DATA4	0x400013fe
			MX93_PAD_SD1_DATA5__USDHC1_DATA5	0x400013fe
			MX93_PAD_SD1_DATA6__USDHC1_DATA6	0x400013fe
			MX93_PAD_SD1_DATA7__USDHC1_DATA7	0x400013fe
			MX93_PAD_SD1_STROBE__USDHC1_STROBE	0x15fe
		>;
	};

	pinctrl_reg_usdhc2_vmmc: regusdhc2vmmcgrp {
		fsl,pins = <
			MX93_PAD_SD2_RESET_B__GPIO3_IO07	0x31e
		>;
	};

	pinctrl_usdhc2_gpio: usdhc2gpiogrp {
		fsl,pins = <
			MX93_PAD_SD2_CD_B__GPIO3_IO00		0x31e
		>;
	};

	/* need to config the SION for data and cmd pad, refer to ERR052021 */
	pinctrl_usdhc2: usdhc2grp {
		fsl,pins = <
			MX93_PAD_SD2_CLK__USDHC2_CLK		0x1582
			MX93_PAD_SD2_CMD__USDHC2_CMD		0x40001382
			MX93_PAD_SD2_DATA0__USDHC2_DATA0	0x40001382
			MX93_PAD_SD2_DATA1__USDHC2_DATA1	0x40001382
			MX93_PAD_SD2_DATA2__USDHC2_DATA2	0x40001382
			MX93_PAD_SD2_DATA3__USDHC2_DATA3	0x40001382
			MX93_PAD_SD2_VSELECT__USDHC2_VSELECT	0x51e
		>;
	};

	/* need to config the SION for data and cmd pad, refer to ERR052021 */
	pinctrl_usdhc2_100mhz: usdhc2-100mhzgrp {
		fsl,pins = <
			MX93_PAD_SD2_CLK__USDHC2_CLK		0x158e
			MX93_PAD_SD2_CMD__USDHC2_CMD		0x4000138e
			MX93_PAD_SD2_DATA0__USDHC2_DATA0	0x4000138e
			MX93_PAD_SD2_DATA1__USDHC2_DATA1	0x4000138e
			MX93_PAD_SD2_DATA2__USDHC2_DATA2	0x4000138e
			MX93_PAD_SD2_DATA3__USDHC2_DATA3	0x4000138e
			MX93_PAD_SD2_VSELECT__USDHC2_VSELECT	0x51e
		>;
	};

	/* need to config the SION for data and cmd pad, refer to ERR052021 */
	pinctrl_usdhc2_200mhz: usdhc2-200mhzgrp {
		fsl,pins = <
			MX93_PAD_SD2_CLK__USDHC2_CLK		0x15fe
			MX93_PAD_SD2_CMD__USDHC2_CMD		0x400013fe
			MX93_PAD_SD2_DATA0__USDHC2_DATA0	0x400013fe
			MX93_PAD_SD2_DATA1__USDHC2_DATA1	0x400013fe
			MX93_PAD_SD2_DATA2__USDHC2_DATA2	0x400013fe
			MX93_PAD_SD2_DATA3__USDHC2_DATA3	0x400013fe
			MX93_PAD_SD2_VSELECT__USDHC2_VSELECT	0x51e
		>;
	};

	/* need to config the SION for data and cmd pad, refer to ERR052021 */
	pinctrl_usdhc3: usdhc3grp {
		fsl,pins = <
			MX93_PAD_GPIO_IO22__USDHC3_CLK		0x1582
			MX93_PAD_GPIO_IO23__USDHC3_CMD		0x40001382
			MX93_PAD_GPIO_IO24__USDHC3_DATA0	0x40001382
			MX93_PAD_GPIO_IO25__USDHC3_DATA1	0x40001382
			MX93_PAD_GPIO_IO26__USDHC3_DATA2	0x40001382
			MX93_PAD_GPIO_IO27__USDHC3_DATA3	0x40001382
		>;
	};

	/* need to config the SION for data and cmd pad, refer to ERR052021 */
	pinctrl_usdhc3_100mhz: usdhc3-100mhzgrp {
		fsl,pins = <
			MX93_PAD_GPIO_IO22__USDHC3_CLK		0x158e
			MX93_PAD_GPIO_IO23__USDHC3_CMD		0x4000138e
			MX93_PAD_GPIO_IO24__USDHC3_DATA0	0x4000138e
			MX93_PAD_GPIO_IO25__USDHC3_DATA1	0x4000138e
			MX93_PAD_GPIO_IO26__USDHC3_DATA2	0x4000138e
			MX93_PAD_GPIO_IO27__USDHC3_DATA3	0x4000138e
		>;
	};

	/* need to config the SION for data and cmd pad, refer to ERR052021 */
	pinctrl_usdhc3_200mhz: usdhc3-200mhzgrp {
		fsl,pins = <
			MX93_PAD_GPIO_IO22__USDHC3_CLK		0x15fe
			MX93_PAD_GPIO_IO23__USDHC3_CMD		0x400013fe
			MX93_PAD_GPIO_IO24__USDHC3_DATA0	0x400013fe
			MX93_PAD_GPIO_IO25__USDHC3_DATA1	0x400013fe
			MX93_PAD_GPIO_IO26__USDHC3_DATA2	0x400013fe
			MX93_PAD_GPIO_IO27__USDHC3_DATA3	0x400013fe
		>;
	};

	pinctrl_wdog: wdoggrp {
		fsl,pins = <
			MX93_PAD_WDOG_ANY__WDOG1_WDOG_ANY	0x82
		>;
	};

	pinctrl_wizirq: wizard-irqgrp {
		fsl,pins = <
			MX93_PAD_CCM_CLKO4__GPIO4_IO29		0x40000d9e
		>;
	};
};

&wdog3 {
	pinctrl-names = "default";
	pinctrl-0 = <&pinctrl_wdog>;
	status = "okay";
};
